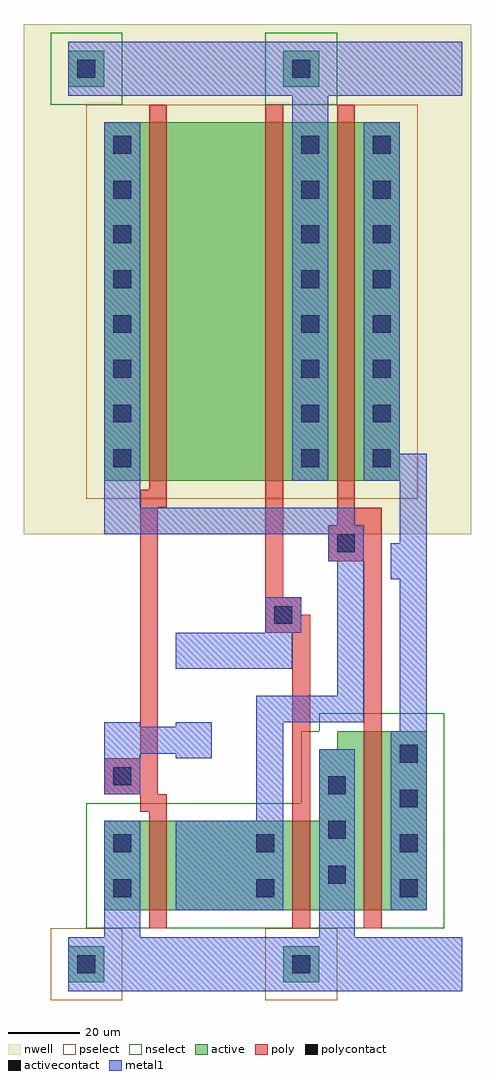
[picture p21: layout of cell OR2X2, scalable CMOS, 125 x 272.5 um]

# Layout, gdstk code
import gdstk
lib = gdstk.Library(unit=1e-6, precision=1e-09)
def R(c, l, rs):  # rectangles x0, y0, x1, y1
    for r in rs: c.add(gdstk.rectangle(r[:2], r[2:], *l))
def A(c, l, x, y, w, h, nx, ny, dx, dy):  # array of equal rectangles
    R(c, l, [(x+i*dx, y+j*dy, x+i*dx+w, y+j*dy+h) for i in range(nx) for j in range(ny)])
nwell = (42, 0)
active = (43, 0)
pselect = (44, 0)
nselect = (45, 0)
poly = (46, 0)
polycontact = (47, 0)
activecontact = (48, 0)
metal1 = (49, 0)

or2x2 = lib.new_cell('OR2X2')
R(or2x2, nwell, [(-17.5,120,107.5,262.5)])
R(or2x2, active, [(-5,-5,5,5), (55,-5,65,5), (5,15,95,40), (65,40,95,60), (70,60,95,65), (5,135,87.5,235), (-5,245,5,255), (55,245,65,255)])
R(or2x2, pselect, [(-10,-10,10,10), (50,-10,70,10), (0,130,92.5,240)])
R(or2x2, nselect, [(0,10,100,45), (60,45,100,65), (65,65,100,70), (-10,240,10,260), (50,240,70,260)])
R(or2x2, poly, [(17.5,10,22.5,42.5), (57.5,10,62.5,92.5), (77.5,10,82.5,112.5), (15,42.5,22.5,47.5), (5,47.5,20,57.5), (15,57.5,20,127.5), (50,92.5,62.5,97.5), (50,97.5,60,102.5), (50,102.5,55,240), (67.5,112.5,82.5,122.5), (70,122.5,82.5,127.5), (15,127.5,22.5,132.5), (70,127.5,75,240), (17.5,132.5,22.5,240)])
R(or2x2, polycontact, [(7.5,50,12.5,55), (52.5,95,57.5,100), (70,115,75,120)])
A(or2x2, activecontact, 7.5, 18.75, 5, 5, 3, 2, 40, 12.5)
A(or2x2, activecontact, 67.5, 22.5, 5, 5, 1, 3, 0, 12.5)
A(or2x2, activecontact, 7.5, 138.75, 5, 5, 1, 8, 0, 12.5)
A(or2x2, activecontact, 60, 138.75, 5, 5, 1, 8, 0, 12.5)
A(or2x2, activecontact, 80, 138.75, 5, 5, 1, 8, 0, 12.5)
R(or2x2, activecontact, [(-2.5,-2.5,2.5,2.5), (57.5,-2.5,62.5,2.5), (87.5,43.75,92.5,48.75), (87.5,56.25,92.5,61.25), (-2.5,247.5,2.5,252.5), (57.5,247.5,62.5,252.5)])
R(or2x2, metal1, [(-5,-7.5,105,7.5), (5,7.5,15,40), (65,7.5,75,60), (25,15,55,40), (85,15,95,65), (47.5,40,55,67.5), (5,47.5,15,67.5), (25,57.5,35,67.5), (6.25,58.75,33.75,66.25), (87.5,65,95,107.5), (47.5,67.5,77.5,75), (70,75,77.5,112.5), (25,82.5,57.5,92.5), (50,92.5,60,102.5), (85,107.5,95,117.5), (67.5,112.5,77.5,120), (87.5,117.5,95,135), (5,120,77.5,122.5), (5,122.5,75,127.5), (5,127.5,15,235), (57.5,135,67.5,242.5), (77.5,135,95,142.5), (77.5,142.5,87.5,235), (-5,242.5,105,257.5)])

lib.write_gds('OR2X2.gds')
